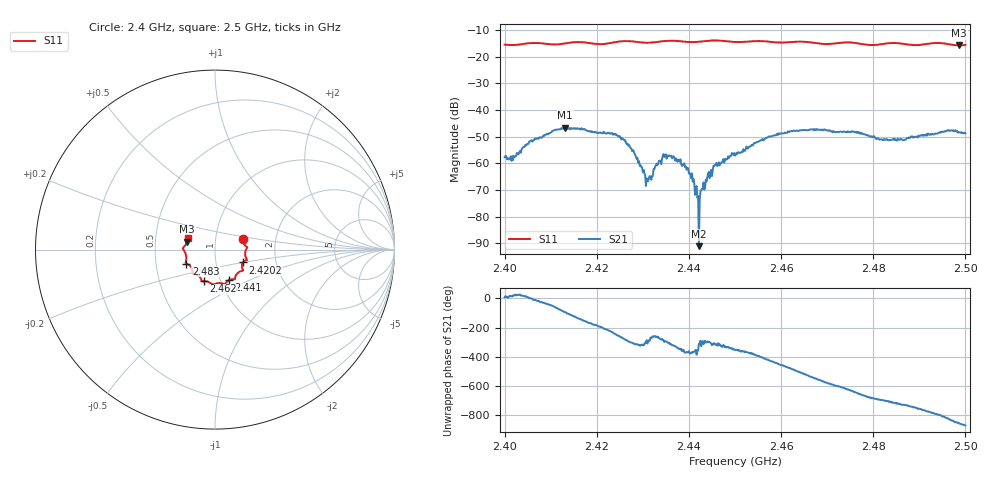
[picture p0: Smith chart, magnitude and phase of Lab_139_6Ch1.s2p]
# Hz S RI R 50
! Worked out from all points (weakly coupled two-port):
!   601 points, 2.4 GHz to 2.5 GHz, reference 50 ohm
!   highest |S21| = -46.57 dB at 2.4132 GHz (marker M1); lowest = -91.0 dB at 2.4422 GHz (marker M2)
!   lowest |S11| = -15.8 dB at 2.4987 GHz (marker M3), VSWR 1.39, Z = 36.4 + j3.29 ohm
!   |S11| at or under -10 dB: start of sweep to end of sweep
!   S12 and S22 are empty: the file has one direction only
!   S11 on the Smith chart (normalised r, x): 2.4 GHz: 1.36, +0.17; 2.4202 GHz: 1.35, -0.20; 2.441 GHz: 1.10, -0.39; 2.462 GHz: 0.83, -0.30; 2.483 GHz: 0.72, -0.12; 2.5 GHz: 0.73, +0.09
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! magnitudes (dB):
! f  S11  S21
! 2.4 GHz  -15.5  -57.7
! 2.402 GHz  -15.7  -57.2
! 2.4058 GHz  -14.9  -51.4
! 2.4132 GHz  -15.0  -46.6
! 2.4167 GHz  -14.6  -46.8
! 2.4202 GHz  -15.3  -48.8
! 2.426 GHz  -14.2  -51.4
! 2.431 GHz  -14.8  -66.7
! 2.4333 GHz  -14.4  -60.1
! 2.4348 GHz  -14.1  -57.2
! 2.4377 GHz  -14.2  -58.6
! 2.4393 GHz  -14.5  -61.2
! 2.441 GHz  -14.6  -65.9
! 2.4422 GHz  -14.4  -91.0
! 2.4457 GHz  -13.9  -60.6
! 2.45 GHz  -14.5  -57.1
! 2.462 GHz  -14.6  -48.0
! 2.4667 GHz  -14.7  -47.3
! 2.483 GHz  -15.0  -51.0
! 2.4833 GHz  -15.0  -51.4
! 2.4987 GHz  -15.8  -48.4
! 2.5 GHz  -15.6  -48.8
